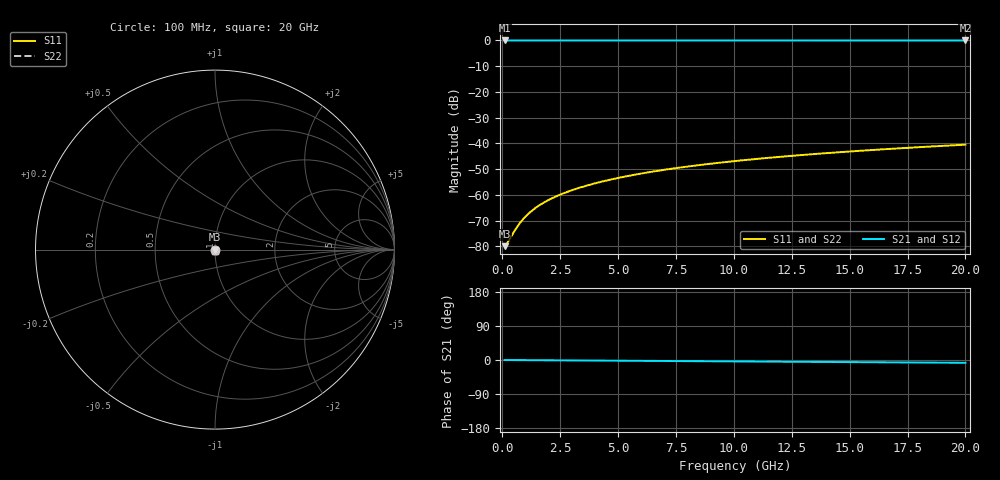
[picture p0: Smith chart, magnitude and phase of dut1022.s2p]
! Touchstone file exported from HFSS 2026.1.0
!  File:  C:/ffzhzh/LocalFiles/Ansys_Project_Files/temp_train_TSV_1022_1783188854_22436.aedt
!  Generated:  02:15:37 AM Jul  5, 2026
!  Design:  TSV
!  Project:  temp_train_TSV_1022_1783188854_22436
! Variables:
!  h_bsmrdl = 2um
!  h_ox = 20um
!  h_rdl = 5um
!  h_sub = 73.48um
!  h_tmrdl = 5um
!  h_tsv = 73.48um
!  h_via = 3um
!  l_bsmrdl = 300um
!  l_sub = 422.8um
!  l_tmrdl = 200um
!  m_sub = 200um
!  pitch = 42.47um
!  r_tsv = 11.4um
!  s_tmrdl = 10um
!  w_bsmrdl = 18um
!  w_sub = 500um
!  w_tmrdl = 12um
!  x_tsv_center1 = 206um
!  x_tsv_center2 = 524um
!  x_tsv_center3 = 736um
!  x_tsv_center4 = 1054um
!  x_tsv_center5 = 1266um
!  x_tsv_center6 = 1584um
# GHz S MA R 50.000000
! Terminal data exported
! Port[1] = TSV1_1_T1
! Port[2] = TSV1_1_T2
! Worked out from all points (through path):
!   200 points, 100 MHz to 20 GHz, reference 50 ohm
!   highest |S21| = 0.00 dB at 100 MHz (marker M1); lowest = 0.0 dB at 20 GHz (marker M2)
!   group delay of S21, straight-line fit = 1.02 ps
!   lowest |S11| = -80.0 dB at 100 MHz (marker M3), VSWR 1.00, Z = 50 - j0.000666 ohm
!   |S11| at or under -10 dB: start of sweep to end of sweep
!   |S22| runs from -80.0 to -40.5 dB; largest |S21 - S12| = 2.3e-15
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0.1  0.0001002 -3.8  0.9999 -0.0  0.9999 -0.0  0.0001002 -3.8
! Gamma 0 0 0 0
! Port Impedance 50 0 50 0
0.2  0.000113 -8.3  0.9999 -0.1  0.9999 -0.1  0.000113 -8.3
0.6  0.0002231 -29.3  0.9998 -0.2  0.9998 -0.2  0.0002231 -29.3
0.8  0.0002971 -38.0  0.9998 -0.3  0.9998 -0.3  0.0002971 -38.0
0.9  0.0003362 -41.7  0.9997 -0.3  0.9997 -0.3  0.0003362 -41.7
1.1  0.0004165 -47.8  0.9997 -0.4  0.9997 -0.4  0.0004165 -47.8
1.4  0.0005401 -54.6  0.9997 -0.5  0.9997 -0.5  0.0005401 -54.6
1.6  0.0006236 -58.0  0.9997 -0.6  0.9997 -0.6  0.0006236 -58.0
1.8  0.0007076 -60.8  0.9996 -0.7  0.9996 -0.7  0.0007076 -60.8
2.3  0.0009199 -65.9  0.9996 -0.9  0.9996 -0.9  0.0009199 -65.9
2.9  0.001179 -69.8  0.9996 -1.1  0.9996 -1.1  0.001179 -69.8
3.5  0.001443 -72.5  0.9995 -1.3  0.9995 -1.3  0.001443 -72.5
4.2  0.001757 -74.7  0.9995 -1.6  0.9995 -1.6  0.001757 -74.7
5  0.002122 -76.6  0.9994 -1.9  0.9994 -1.9  0.002122 -76.6
5.9  0.002541 -78.3  0.9994 -2.2  0.9994 -2.2  0.002541 -78.3
6.8  0.002966 -79.8  0.9993 -2.5  0.9993 -2.5  0.002966 -79.8
8.3  0.003682 -81.7  0.9993 -3.1  0.9993 -3.1  0.003683 -81.7
10.1  0.004551 -83.6  0.9992 -3.7  0.9992 -3.7  0.004551 -83.6
11.7  0.005329 -85.1  0.9991 -4.3  0.9991 -4.3  0.005329 -85.1
13.4  0.006159 -86.4  0.9991 -4.9  0.9991 -4.9  0.006159 -86.4
16.7  0.007783 -88.6  0.9989 -6.2  0.9989 -6.2  0.007783 -88.6
20  0.009429 -90.5  0.9988 -7.4  0.9988 -7.4  0.009429 -90.5
